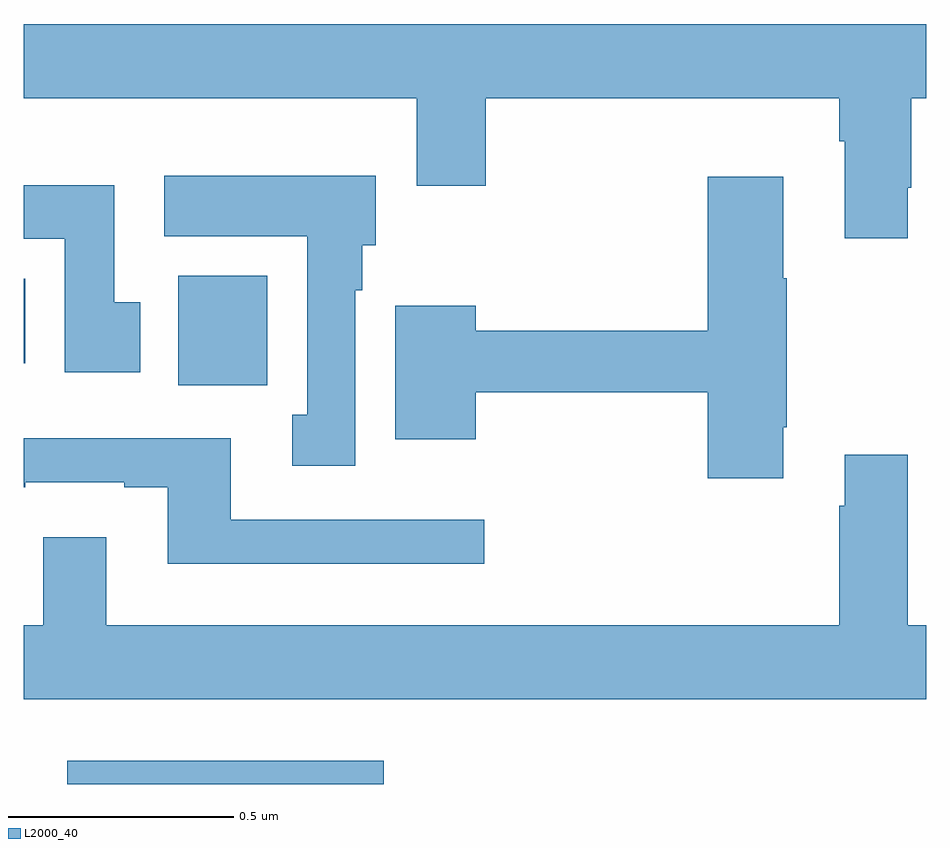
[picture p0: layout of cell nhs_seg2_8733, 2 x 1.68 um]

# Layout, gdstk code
import gdstk
lib = gdstk.Library(unit=1e-6, precision=1e-09)
def R(c, l, rs):  # rectangles x0, y0, x1, y1
    for r in rs: c.add(gdstk.rectangle(r[:2], r[2:], *l))
def P(c, l, *ps):  # polygons
    for p in ps: c.add(gdstk.Polygon(p, *l))
L2000_40 = (2000, 40)

nhs_seg2_8733 = lib.new_cell('nhs_seg2_8733')
R(nhs_seg2_8733, L2000_40, [(220.097,628.8,220.798,628.852), (220.343,629.684,220.54,629.926), (220,629.732,220.003,629.92)])
P(nhs_seg2_8733, L2000_40, [(221.959,630.121),(221.967,630.121),(221.967,630.32),(222,630.32),(222,630.484),(220,630.484),(220,630.32),(220.871,630.32),(220.871,630.126),(221.024,630.126),(221.024,630.32),(221.807,630.32),(221.807,630.224),(221.819,630.224),(221.819,630.009),(221.959,630.009)],
  [(220.735,629.894),(220.75,629.894),(220.75,629.994),(220.78,629.994),(220.78,630.148),(220.311,630.148),(220.311,630.014),(220.628,630.014),(220.628,629.618),(220.595,629.618),(220.595,629.505),(220.735,629.505)],
  [(221.683,629.59),(221.691,629.59),(221.691,629.921),(221.683,629.921),(221.683,630.145),(221.516,630.145),(221.516,629.804),(221.002,629.804),(221.002,629.86),(220.823,629.86),(220.823,629.564),(221.002,629.564),(221.002,629.668),(221.516,629.668),(221.516,629.478),(221.683,629.478)],
  [(220.258,629.868),(220.201,629.868),(220.201,630.127),(220,630.127),(220,630.008),(220.091,630.008),(220.091,629.712),(220.258,629.712)],
  [(221.02,629.385),(220.459,629.385),(220.459,629.566),(220,629.566),(220,629.457),(220.003,629.457),(220.003,629.469),(220.223,629.469),(220.223,629.457),(220.319,629.457),(220.319,629.288),(221.02,629.288)],
  [(222,629.152),(221.959,629.152),(221.959,629.53),(221.819,629.53),(221.819,629.417),(221.807,629.417),(221.807,629.152),(220.183,629.152),(220.183,629.347),(220.043,629.347),(220.043,629.152),(220,629.152),(220,628.988),(222,628.988)])

lib.write_gds('nhs_seg2_8733.gds')
